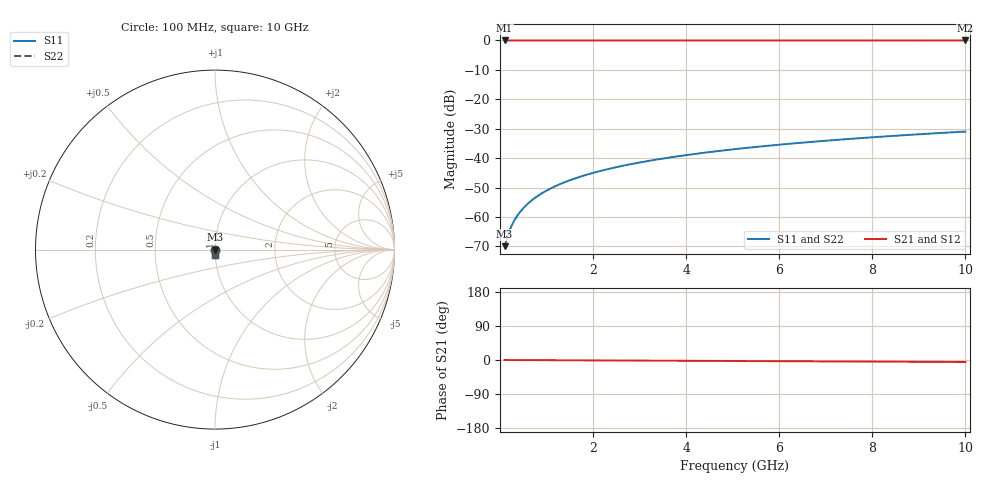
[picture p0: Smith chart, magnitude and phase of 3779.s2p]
# Hz S RI R 50.00
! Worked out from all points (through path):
!   100 points, 100 MHz to 10 GHz, reference 50 ohm
!   highest |S21| = 0.00 dB at 100 MHz (marker M1); lowest = 0.0 dB at 10 GHz (marker M2)
!   lowest |S11| = -69.9 dB at 100 MHz (marker M3), VSWR 1.00, Z = 50 - j0.0281 ohm
!   |S11| at or under -10 dB: start of sweep to end of sweep
!   |S22| runs from -69.9 to -31.0 dB; largest |S21 - S12| = 0
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1e8  0.000153 -0.000281  0.9998 -0.000919  0.9998 -0.000919  0.000153 -0.000281
2e8  0.000153 -0.000561  0.9998 -0.00184  0.9998 -0.00184  0.000153 -0.000561
3e8  0.000152 -0.000842  0.9998 -0.00276  0.9998 -0.00276  0.000152 -0.000842
4e8  0.00015 -0.00112  0.9998 -0.00368  0.9998 -0.00368  0.00015 -0.00112
5e8  0.000148 -0.0014  0.9998 -0.0046  0.9998 -0.0046  0.000148 -0.0014
6e8  0.000145 -0.00168  0.9998 -0.00551  0.9998 -0.00551  0.000145 -0.00168
7e8  0.000142 -0.00196  0.9998 -0.00643  0.9998 -0.00643  0.000142 -0.00196
8e8  0.000138 -0.00225  0.9998 -0.00735  0.9998 -0.00735  0.000138 -0.00225
9e8  0.000133 -0.00253  0.9998 -0.00827  0.9998 -0.00827  0.000133 -0.00253
1.1e9  0.000122 -0.00309  0.9998 -0.0101  0.9998 -0.0101  0.000122 -0.00309
1.4e9  0.000102 -0.00393  0.9997 -0.0129  0.9997 -0.0129  0.000102 -0.00393
1.8e9  6.78e-05 -0.00506  0.9997 -0.0166  0.9997 -0.0166  6.78e-05 -0.00506
2.1e9  3.65e-05 -0.0059  0.9996 -0.0193  0.9996 -0.0193  3.65e-05 -0.0059
2.5e9  -1.24e-05 -0.00703  0.9995 -0.023  0.9995 -0.023  -1.24e-05 -0.00703
2.9e9  -6.98e-05 -0.00815  0.9994 -0.0267  0.9994 -0.0267  -6.98e-05 -0.00815
3.4e9  -0.000153 -0.00956  0.9993 -0.0313  0.9993 -0.0313  -0.000153 -0.00956
4.2e9  -0.000314 -0.0118  0.999 -0.0387  0.999 -0.0387  -0.000314 -0.0118
5.1e9  -0.000536 -0.0144  0.9986 -0.047  0.9986 -0.047  -0.000536 -0.0144
5.9e9  -0.000769 -0.0166  0.9982 -0.0544  0.9982 -0.0544  -0.000769 -0.0166
6.7e9  -0.00104 -0.0189  0.9977 -0.0618  0.9977 -0.0618  -0.00104 -0.0189
8.4e9  -0.00172 -0.0237  0.9965 -0.0776  0.9965 -0.0776  -0.00172 -0.0237
1e10  -0.0025 -0.0282  0.9951 -0.0925  0.9951 -0.0925  -0.0025 -0.0282
